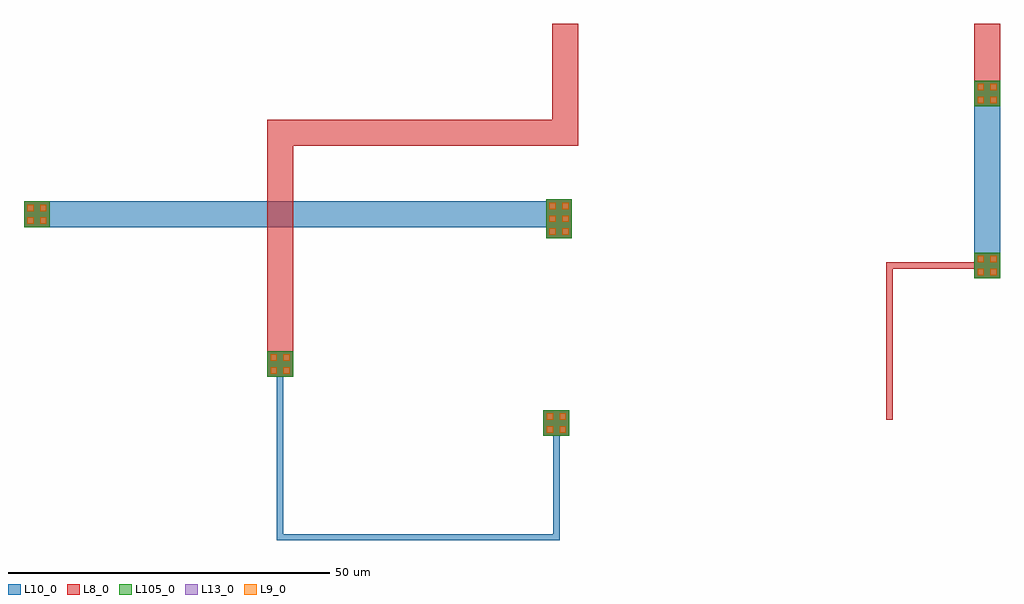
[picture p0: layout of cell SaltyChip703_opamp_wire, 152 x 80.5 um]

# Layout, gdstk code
import gdstk
lib = gdstk.Library(unit=1e-6, precision=1e-09)
def R(c, l, rs):  # rectangles x0, y0, x1, y1
    for r in rs: c.add(gdstk.rectangle(r[:2], r[2:], *l))
L8_0 = (8, 0)
L9_0 = (9, 0)
L10_0 = (10, 0)
L13_0 = (13, 0)
L105_0 = (105, 0)

via_1 = lib.new_cell('Via$1')
R(via_1, L8_0, [(-1,-1,1,1)])
R(via_1, L9_0, [(-0.5,-0.5,0.5,0.5)])
R(via_1, L10_0, [(-1,-1,1,1)])
R(via_1, L13_0, [(-0.5,-0.5,0.5,0.5)])
R(via_1, L105_0, [(-1,-1,1,1)])

saltychip703_opamp_wire = lib.new_cell('SaltyChip703_opamp_wire')
saltychip703_opamp_wire.add(gdstk.FlexPath([(-503.2,595.3),(-503.2,619.3),(-488,619.3)], 1, ends="flush", simple_path=True, layer=8, datatype=0))  # L8_0
saltychip703_opamp_wire.add(gdstk.FlexPath([(-553.7,657),(-553.7,640),(-598.1,640),(-598.1,604)], 4, ends="flush", simple_path=True, layer=8, datatype=0))  # L8_0
saltychip703_opamp_wire.add(gdstk.FlexPath([(-488,646.1),(-488,657)], 4, ends="flush", simple_path=True, layer=8, datatype=0))  # L8_0
saltychip703_opamp_wire.add(gdstk.FlexPath([(-636,627.3),(-552.7,627.3)], 4, ends="flush", simple_path=True, layer=10, datatype=0))  # L10_0
saltychip703_opamp_wire.add(gdstk.FlexPath([(-488,619.3),(-488,645)], 4, ends="flush", simple_path=True, layer=10, datatype=0))  # L10_0
saltychip703_opamp_wire.add(gdstk.FlexPath([(-555.1,594.8),(-555.1,577),(-598.1,577),(-598.1,604.5)], 1, ends="flush", simple_path=True, layer=10, datatype=0))  # L10_0
saltychip703_opamp_wire.add(gdstk.Reference(via_1, (-637,626.3)))
saltychip703_opamp_wire.add(gdstk.Reference(via_1, (-635,626.3)))
saltychip703_opamp_wire.add(gdstk.Reference(via_1, (-637,628.3)))
saltychip703_opamp_wire.add(gdstk.Reference(via_1, (-635,628.3)))
saltychip703_opamp_wire.add(gdstk.Reference(via_1, (-555.7,628.6)))
saltychip703_opamp_wire.add(gdstk.Reference(via_1, (-553.7,628.6)))
saltychip703_opamp_wire.add(gdstk.Reference(via_1, (-555.7,626.6)))
saltychip703_opamp_wire.add(gdstk.Reference(via_1, (-553.7,626.6)))
saltychip703_opamp_wire.add(gdstk.Reference(via_1, (-555.7,624.6)))
saltychip703_opamp_wire.add(gdstk.Reference(via_1, (-553.7,624.6)))
saltychip703_opamp_wire.add(gdstk.Reference(via_1, (-489,620.3)))
saltychip703_opamp_wire.add(gdstk.Reference(via_1, (-487,620.3)))
saltychip703_opamp_wire.add(gdstk.Reference(via_1, (-489,618.3)))
saltychip703_opamp_wire.add(gdstk.Reference(via_1, (-487,618.3)))
saltychip703_opamp_wire.add(gdstk.Reference(via_1, (-554.1,595.8)))
saltychip703_opamp_wire.add(gdstk.Reference(via_1, (-556.1,595.8)))
saltychip703_opamp_wire.add(gdstk.Reference(via_1, (-556.1,593.8)))
saltychip703_opamp_wire.add(gdstk.Reference(via_1, (-554.1,593.8)))
saltychip703_opamp_wire.add(gdstk.Reference(via_1, (-599.1,605)))
saltychip703_opamp_wire.add(gdstk.Reference(via_1, (-597.1,605)))
saltychip703_opamp_wire.add(gdstk.Reference(via_1, (-597.1,603)))
saltychip703_opamp_wire.add(gdstk.Reference(via_1, (-599.1,603)))
saltychip703_opamp_wire.add(gdstk.Reference(via_1, (-489,645.1)))
saltychip703_opamp_wire.add(gdstk.Reference(via_1, (-487,645.1)))
saltychip703_opamp_wire.add(gdstk.Reference(via_1, (-489,647.1)))
saltychip703_opamp_wire.add(gdstk.Reference(via_1, (-487,647.1)))

lib.write_gds('SaltyChip703_opamp_wire.gds')
